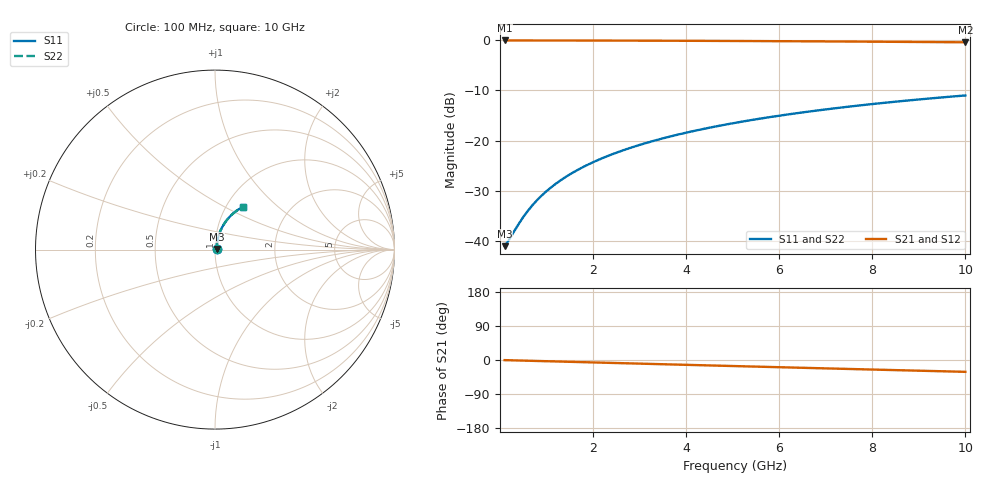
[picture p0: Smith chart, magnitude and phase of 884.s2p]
# Hz S RI R 50.00
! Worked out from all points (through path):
!   100 points, 100 MHz to 10 GHz, reference 50 ohm
!   highest |S21| = -0.07 dB at 100 MHz (marker M1); lowest = -0.4 dB at 10 GHz (marker M2)
!   group delay of S21, straight-line fit = 8.69 ps
!   lowest |S11| = -40.9 dB at 100 MHz (marker M3), VSWR 1.02, Z = 50.9 + j0.304 ohm
!   |S11| at or under -10 dB: start of sweep to end of sweep
!   |S22| runs from -40.9 to -11.0 dB; largest |S21 - S12| = 0
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1e8  0.00847 0.00299  0.9915 -0.00554  0.9915 -0.00554  0.00847 0.00299
2e8  0.00857 0.00598  0.9914 -0.0111  0.9914 -0.0111  0.00857 0.00598
4e8  0.00884 0.012  0.9911 -0.0221  0.9911 -0.0221  0.00884 0.012
5e8  0.00902 0.0149  0.9909 -0.0277  0.9909 -0.0277  0.00902 0.0149
6e8  0.00923 0.0179  0.9906 -0.0332  0.9906 -0.0332  0.00923 0.0179
7e8  0.00947 0.0209  0.9904 -0.0387  0.9904 -0.0387  0.00947 0.0209
8e8  0.00974 0.0239  0.99 -0.0442  0.99 -0.0442  0.00974 0.0239
1e9  0.0104 0.0298  0.9893 -0.0553  0.9893 -0.0553  0.0104 0.0298
1.2e9  0.0111 0.0357  0.9884 -0.0663  0.9884 -0.0663  0.0111 0.0357
1.5e9  0.0125 0.0446  0.9867 -0.0828  0.9867 -0.0828  0.0125 0.0446
1.8e9  0.0142 0.0534  0.9847 -0.0992  0.9847 -0.0992  0.0142 0.0534
2.1e9  0.0162 0.0621  0.9823 -0.1156  0.9823 -0.1156  0.0162 0.0621
2.5e9  0.0192 0.0736  0.9787 -0.1373  0.9787 -0.1373  0.0192 0.0736
2.9e9  0.0228 0.0849  0.9744 -0.1588  0.9744 -0.1588  0.0228 0.0849
3.4e9  0.0279 0.0988  0.9682 -0.1855  0.9682 -0.1855  0.0279 0.0988
4.2e9  0.0377 0.1203  0.9564 -0.2274  0.9564 -0.2274  0.0377 0.1203
5.1e9  0.0508 0.1433  0.9405 -0.2734  0.9405 -0.2734  0.0508 0.1433
5.9e9  0.0643 0.1623  0.9241 -0.313  0.9241 -0.313  0.0643 0.1623
6.7e9  0.0792 0.1801  0.9058 -0.3512  0.9058 -0.3512  0.0792 0.1801
7.5e9  0.0955 0.1963  0.8857 -0.388  0.8857 -0.388  0.0955 0.1963
8.4e9  0.1152 0.2127  0.8611 -0.4276  0.8611 -0.4276  0.1152 0.2127
1e10  0.1533 0.2366  0.813 -0.4927  0.813 -0.4927  0.1533 0.2366
